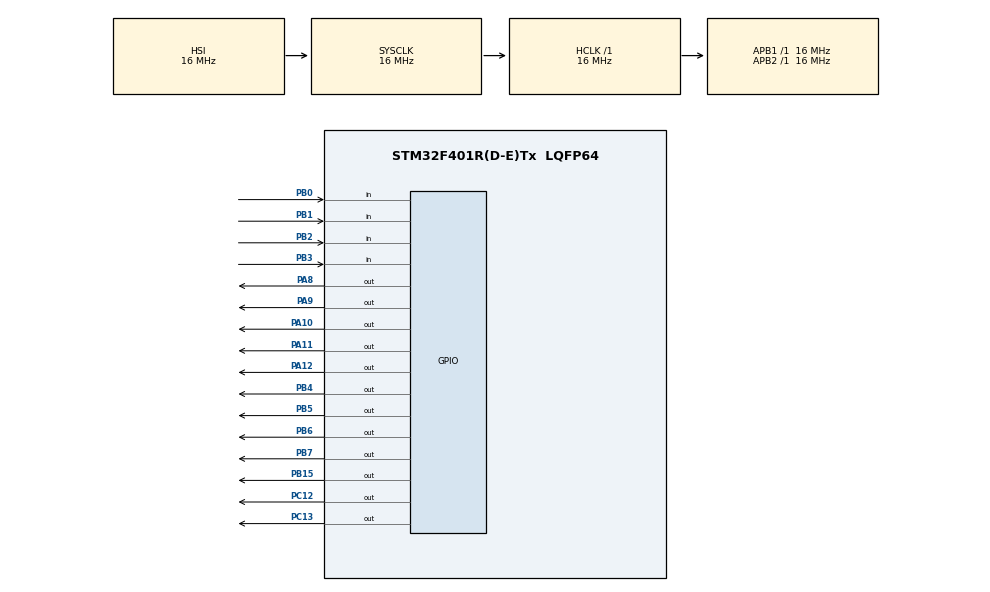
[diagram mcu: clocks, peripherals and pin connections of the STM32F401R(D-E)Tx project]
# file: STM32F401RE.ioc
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Mcu.Family=STM32F4
Mcu.Name=STM32F401R(D-E)Tx
Mcu.Package=LQFP64
NVIC.PriorityGroup=NVIC_PRIORITYGROUP_4
NVIC.TIM2_IRQn=true\:0\:0\:false\:false\:true\:true\:true\:true
PA10.Signal=GPIO_Output
PA11.Signal=GPIO_Output
PA12.Signal=GPIO_Output
PA13.Mode=Serial_Wire
PA13.Signal=SYS_JTMS-SWDIO
PA14.Mode=Serial_Wire
PA14.Signal=SYS_JTCK-SWCLK
PA8.Signal=GPIO_Output
PA9.Signal=GPIO_Output
PB0.GPIO_PuPd=GPIO_PULLUP
PB0.Signal=GPIO_Input
PB1.GPIO_PuPd=GPIO_PULLUP
PB1.Signal=GPIO_Input
PB15.Signal=GPIO_Output
PB2.GPIO_PuPd=GPIO_PULLUP
PB2.Signal=GPIO_Input
PB3.GPIO_PuPd=GPIO_PULLUP
PB3.Signal=GPIO_Input
PB4.Signal=GPIO_Output
PB5.Signal=GPIO_Output
PB6.Signal=GPIO_Output
PB7.Signal=GPIO_Output
PC12.Signal=GPIO_Output
PC13-ANTI_TAMP.Signal=GPIO_Output
ProjectManager.HeapSize=0x200
ProjectManager.StackSize=0x400
ProjectManager.TargetToolchain=STM32CubeIDE
RCC.AHBFreq_Value=16000000
RCC.APB1Freq_Value=16000000
RCC.APB1TimFreq_Value=16000000
RCC.APB2Freq_Value=16000000
RCC.APB2TimFreq_Value=16000000
RCC.CortexFreq_Value=16000000
RCC.HCLKFreq_Value=16000000
RCC.HSE_VALUE=25000000
RCC.HSI_VALUE=16000000
RCC.LSE_VALUE=32768
RCC.SYSCLKFreq_VALUE=16000000
RCC.VCOOutputFreq_Value=192000000
TIM2.AutoReloadPreload=TIM_AUTORELOAD_PRELOAD_ENABLE
TIM2.Period=149
TIM2.Prescaler=16000
TIM4.AutoReloadPreload=TIM_AUTORELOAD_PRELOAD_ENABLE
TIM4.Period=199
TIM4.Prescaler=16000
VP_TIM2_VS_ClockSourceINT.Mode=Internal
VP_TIM4_VS_ClockSourceINT.Mode=Internal
board=custom

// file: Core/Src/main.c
/* USER CODE BEGIN Header */
/**
  ******************************************************************************
  * @file           : main.c
  * @brief          : Main program body
  ******************************************************************************
  * @attention
  *
  * Copyright (c) 2023 STMicroelectronics.
  * All rights reserved.
  *
  * This software is licensed under terms that can be found in the LICENSE file
  * in the root directory of this software component.
  * If no LICENSE file comes with this software, it is provided AS-IS.
  *
  ******************************************************************************
  */
/* USER CODE END Header */
#include "main.h"

#include "string.h"
#include "CLCD.h"
#include "stdio.h"

TIM_HandleTypeDef htim2;
TIM_HandleTypeDef htim4;

void SystemClock_Config(void);
static void MX_GPIO_Init(void);
static void MX_TIM2_Init(void);
static void MX_TIM4_Init(void);

CLCD_Name LCD1;
uint8_t Count;
char LCD_send[16];
int check_clm(uint16_t pin_var)
{
	int clm;
	HAL_GPIO_WritePin(GPIOB, GPIO_PIN_4|GPIO_PIN_5|GPIO_PIN_6|GPIO_PIN_7, GPIO_PIN_SET);		//Set all columns to logic 1 ie connected to Vcc

	HAL_GPIO_WritePin(GPIOB, GPIO_PIN_4, GPIO_PIN_RESET);						//set first column to Gnd
	if(HAL_GPIO_ReadPin(GPIOB, pin_var) == 0)
		clm = 1;

	HAL_GPIO_WritePin(GPIOB, GPIO_PIN_4, GPIO_PIN_SET);
	HAL_GPIO_WritePin(GPIOB, GPIO_PIN_5, GPIO_PIN_RESET);						//set second column to Gnd
	if(HAL_GPIO_ReadPin(GPIOB, pin_var) == 0)
		clm = 2;

	HAL_GPIO_WritePin(GPIOB, GPIO_PIN_5, GPIO_PIN_SET);
	HAL_GPIO_WritePin(GPIOB, GPIO_PIN_6, GPIO_PIN_RESET);						//set third column to Gnd
	if(HAL_GPIO_ReadPin(GPIOB, pin_var) == 0)
		clm = 3;

	HAL_GPIO_WritePin(GPIOB, GPIO_PIN_6, GPIO_PIN_SET);
	HAL_GPIO_WritePin(GPIOB, GPIO_PIN_7, GPIO_PIN_RESET);						//set fourth column to Gnd
	if(HAL_GPIO_ReadPin(GPIOB, pin_var) == 0)
		clm = 4;

	HAL_GPIO_WritePin(GPIOB, GPIO_PIN_4|GPIO_PIN_5|GPIO_PIN_6|GPIO_PIN_7, GPIO_PIN_RESET);		//Set all columns to logic 0 ie connected to GND
	return clm;
}

unsigned char key_press(void)
{
	int clm_var;
	unsigned char key_arr[4][4] = {{'1', '2', '3', 'A'},{'4', '5', '6', 'B'},{'7', '8', '9', 'C'},{'*', '0', '=', 'D'}};
	if (HAL_GPIO_ReadPin(GPIOB, GPIO_PIN_0) == 0)
	{
		clm_var = check_clm(GPIO_PIN_0);
		return key_arr[0][clm_var-1];
	}
	else if (HAL_GPIO_ReadPin(GPIOB, GPIO_PIN_1) == 0)
	{
		clm_var = check_clm(GPIO_PIN_1);
		return key_arr[1][clm_var-1];
	}
	else if (HAL_GPIO_ReadPin(GPIOB, GPIO_PIN_2) == 0)
	{
		clm_var = check_clm(GPIO_PIN_2);
		return key_arr[2][clm_var-1];
	}
	else if (HAL_GPIO_ReadPin(GPIOB, GPIO_PIN_3) == 0)
	{
		clm_var = check_clm(GPIO_PIN_3);
		return key_arr[3][clm_var-1];
	}
	else
		return '\0';
}

char PW[11]; //Mang de luu mat khau khi nhap tu ban phim
char MK[6] = {'2','2','2','3','3','3'}; //Mang MK cua nguoi dung
int i = 0; //Tang chi so cho mang PW

int so_sanh(char a[],char b[],int n,int m)
{
	if(n > m || n < m)
		return 0;
	else
	{
		for(int j=0;j<6;j++)
		{
			if(a[j] != b[j]) return 0;
		}
		return 1;
	}
}

void ktao()
{
	for(int j=0;j<11;j++) PW[j] = 'z';
}

void Disp_pass_key(char key_var)
{
	if(key_var != '\0')
	{
		if(key_var == 'D'){
			CLCD_SetCursor(&LCD1, 0, 1);
			for(int k = 0;k<i;k++)
			{
				CLCD_WriteChar(&LCD1,' ');
			}
			CLCD_SetCursor(&LCD1, 0, 1);
			i = 0;
		}
		else{
			CLCD_WriteChar(&LCD1,'*');
		}
	}
}

void check(char key_var,int *cnt){
	if(key_var != '\0')
	{
		if(key_var >= '0' && key_var <= '9')
		{
			PW[i] = key_var;
			i++;
		}
		if(key_var == '*')
		{
			if(so_sanh(PW,MK,i,6) == 1)
			{
				CLCD_Clear(&LCD1);
				CLCD_SetCursor(&LCD1, 0, 0);
				CLCD_WriteString(&LCD1, "DA MO KHOA!");
				CLCD_SetCursor(&LCD1, 0, 1);
				CLCD_WriteString(&LCD1, "OPENED!");
				HAL_Delay(1000);
				CLCD_Clear(&LCD1);
				CLCD_WriteString(&LCD1, "XIN CHAO!!!");
				ktao();
				i = 0;
				HAL_Delay(5000);
				//Sao khi da mo khoa thanh cong
				CLCD_Clear(&LCD1);
				CLCD_SetCursor(&LCD1, 0, 0);
				CLCD_WriteString(&LCD1, "!!!WELCOME!!!");
				HAL_Delay(1000);
				CLCD_Clear(&LCD1);
				CLCD_SetCursor(&LCD1, 0, 0);
				CLCD_WriteString(&LCD1, "ENTER PASSWORD:");
				CLCD_SetCursor(&LCD1, 0, 1);
				CLCD_CursorOn(&LCD1);
				*cnt = 0;
				return;
			}
			else
			{
				*cnt += 1;
				CLCD_Clear(&LCD1);
				CLCD_WriteString(&LCD1, "INCORRECT!");
				ktao();
				sprintf(LCD_send, " Dem:%d", *cnt);
				CLCD_WriteString(&LCD1, LCD_send);
				if(*cnt == 3)
				{
					CLCD_SetCursor(&LCD1, 0, 1);
					CLCD_WriteString(&LCD1, "CANH BAO MUC 3");
				}
				i = 0;
				HAL_Delay(1000);
				if(*cnt < 3){
					CLCD_Clear(&LCD1);
					CLCD_WriteString(&LCD1, "ENTER AGAIN:");
					CLCD_SetCursor(&LCD1, 0, 1);
				}
			}
		}
	}
}

void HAL_TIM_PeriodElapsedCallback(TIM_HandleTypeDef *htim)
{
	HAL_GPIO_TogglePin(GPIOC, GPIO_PIN_13);
}

int main(void)
{
  /* USER CODE BEGIN 1 */
	char var1; //luu ky tu tuong ung tren KeyPAD
	int cnt = 0; //Dem xem so lan da nhap mat khau sai

  HAL_Init();

  SystemClock_Config();

  MX_GPIO_Init();
  MX_TIM2_Init();
  MX_TIM4_Init();
  /* USER CODE BEGIN 2 */
  	HAL_TIM_Base_Start_IT(&htim2);
  	HAL_GPIO_WritePin(GPIOB, GPIO_PIN_0|GPIO_PIN_1|GPIO_PIN_2|GPIO_PIN_3, GPIO_PIN_SET);
  	HAL_GPIO_WritePin(GPIOB, GPIO_PIN_4|GPIO_PIN_5|GPIO_PIN_6|GPIO_PIN_7, GPIO_PIN_RESET);
  	CLCD_4BIT_Init(&LCD1, 16, 2, CS_GPIO_Port, CS_Pin, EN_GPIO_Port, EN_Pin,
  										D4_GPIO_Port, D4_Pin, D5_GPIO_Port, D5_Pin,
  										D6_GPIO_Port, D6_Pin, D7_GPIO_Port, D7_Pin);
  	CLCD_SetCursor(&LCD1, 0, 0);
  	CLCD_WriteString(&LCD1, "WELCOME!!!");
  	HAL_Delay(2000);
  	CLCD_Clear(&LCD1);
  	CLCD_SetCursor(&LCD1, 0, 0);
  	CLCD_WriteString(&LCD1, "ENTER PASSWORD:");
  	CLCD_SetCursor(&LCD1, 0, 1);
  	CLCD_CursorOn(&LCD1);
  /* USER CODE END 2 */

  /* Infinite loop */
  /* USER CODE BEGIN WHILE */
  while (1)
  {
	  var1 = key_press();
	  	Disp_pass_key(var1);
	  	check(var1,&cnt);
	  	if(cnt == 3)
	  	{
	  		HAL_Delay(500);
	  		HAL_GPIO_WritePin(GPIOC, GPIO_PIN_12, GPIO_PIN_SET);
	  		HAL_Delay(3000);
	  		HAL_GPIO_WritePin(GPIOC, GPIO_PIN_12, GPIO_PIN_RESET);
	  		CLCD_Clear(&LCD1);
	  		CLCD_SetCursor(&LCD1, 0, 0);
	  		CLCD_WriteString(&LCD1, "CO KE DOT NHAP!");
	  		CLCD_SetCursor(&LCD1, 0, 1);
	  		CLCD_WriteString(&LCD1, "WARNING!!!");
	  		HAL_Delay(2000);
	  		//Sau khi thong bao co ke dot nhap:
	  		CLCD_Clear(&LCD1);
	  		CLCD_SetCursor(&LCD1, 0, 0);
	  		CLCD_WriteString(&LCD1, "WELCOME!!!");
	  	  	HAL_Delay(2000);
	  		CLCD_Clear(&LCD1);
	  		CLCD_SetCursor(&LCD1, 0, 0);
	  		CLCD_WriteString(&LCD1, "ENTER PASSWORD:");
	  		CLCD_SetCursor(&LCD1, 0, 1);
	  		CLCD_CursorOn(&LCD1);
	  		cnt = 0;
	  	}
	  	HAL_Delay(175);
    /* USER CODE END WHILE */

  }
}

void SystemClock_Config(void)
{
  RCC_OscInitTypeDef RCC_OscInitStruct = {0};
  RCC_ClkInitTypeDef RCC_ClkInitStruct = {0};

  /** Configure the main internal regulator output voltage
  */
  __HAL_RCC_PWR_CLK_ENABLE();
  __HAL_PWR_VOLTAGESCALING_CONFIG(PWR_REGULATOR_VOLTAGE_SCALE2);

  /** Initializes the RCC Oscillators according to the specified parameters
  * in the RCC_OscInitTypeDef structure.
  */
  RCC_OscInitStruct.OscillatorType = RCC_OSCILLATORTYPE_HSI;
  RCC_OscInitStruct.HSIState = RCC_HSI_ON;
  RCC_OscInitStruct.HSICalibrationValue = RCC_HSICALIBRATION_DEFAULT;
  RCC_OscInitStruct.PLL.PLLState = RCC_PLL_NONE;
  if (HAL_RCC_OscConfig(&RCC_OscInitStruct) != HAL_OK)
  {
    Error_Handler();
  }

  /** Initializes the CPU, AHB and APB buses clocks
  */
  RCC_ClkInitStruct.ClockType = RCC_CLOCKTYPE_HCLK|RCC_CLOCKTYPE_SYSCLK
                              |RCC_CLOCKTYPE_PCLK1|RCC_CLOCKTYPE_PCLK2;
  RCC_ClkInitStruct.SYSCLKSource = RCC_SYSCLKSOURCE_HSI;
  RCC_ClkInitStruct.AHBCLKDivider = RCC_SYSCLK_DIV1;
  RCC_ClkInitStruct.APB1CLKDivider = RCC_HCLK_DIV1;
  RCC_ClkInitStruct.APB2CLKDivider = RCC_HCLK_DIV1;

  if (HAL_RCC_ClockConfig(&RCC_ClkInitStruct, FLASH_LATENCY_0) != HAL_OK)
  {
    Error_Handler();
  }
}

static void MX_TIM2_Init(void)
{

  TIM_ClockConfigTypeDef sClockSourceConfig = {0};
  TIM_MasterConfigTypeDef sMasterConfig = {0};

  htim2.Instance = TIM2;
  htim2.Init.Prescaler = 16000;
  htim2.Init.CounterMode = TIM_COUNTERMODE_UP;
  htim2.Init.Period = 149;
  htim2.Init.ClockDivision = TIM_CLOCKDIVISION_DIV1;
  htim2.Init.AutoReloadPreload = TIM_AUTORELOAD_PRELOAD_ENABLE;
  if (HAL_TIM_Base_Init(&htim2) != HAL_OK)
  {
    Error_Handler();
  }
  sClockSourceConfig.ClockSource = TIM_CLOCKSOURCE_INTERNAL;
  if (HAL_TIM_ConfigClockSource(&htim2, &sClockSourceConfig) != HAL_OK)
  {
    Error_Handler();
  }
  sMasterConfig.MasterOutputTrigger = TIM_TRGO_RESET;
  sMasterConfig.MasterSlaveMode = TIM_MASTERSLAVEMODE_DISABLE;
  if (HAL_TIMEx_MasterConfigSynchronization(&htim2, &sMasterConfig) != HAL_OK)
  {
    Error_Handler();
  }

}

static void MX_TIM4_Init(void)
{

  TIM_ClockConfigTypeDef sClockSourceConfig = {0};
  TIM_MasterConfigTypeDef sMasterConfig = {0};

  htim4.Instance = TIM4;
  htim4.Init.Prescaler = 16000;
  htim4.Init.CounterMode = TIM_COUNTERMODE_UP;
  htim4.Init.Period = 199;
  htim4.Init.ClockDivision = TIM_CLOCKDIVISION_DIV1;
  htim4.Init.AutoReloadPreload = TIM_AUTORELOAD_PRELOAD_ENABLE;
  if (HAL_TIM_Base_Init(&htim4) != HAL_OK)
  {
    Error_Handler();
  }
  sClockSourceConfig.ClockSource = TIM_CLOCKSOURCE_INTERNAL;
  if (HAL_TIM_ConfigClockSource(&htim4, &sClockSourceConfig) != HAL_OK)
  {
    Error_Handler();
  }
  sMasterConfig.MasterOutputTrigger = TIM_TRGO_RESET;
  sMasterConfig.MasterSlaveMode = TIM_MASTERSLAVEMODE_DISABLE;
  if (HAL_TIMEx_MasterConfigSynchronization(&htim4, &sMasterConfig) != HAL_OK)
  {
    Error_Handler();
  }

}

static void MX_GPIO_Init(void)
{
  GPIO_InitTypeDef GPIO_InitStruct = {0};

  /* GPIO Ports Clock Enable */
  __HAL_RCC_GPIOC_CLK_ENABLE();
  __HAL_RCC_GPIOB_CLK_ENABLE();
  __HAL_RCC_GPIOA_CLK_ENABLE();

  /*Configure GPIO pin Output Level */
  HAL_GPIO_WritePin(GPIOC, GPIO_PIN_13|GPIO_PIN_12, GPIO_PIN_RESET);

  /*Configure GPIO pin Output Level */
  HAL_GPIO_WritePin(GPIOB, GPIO_PIN_15|GPIO_PIN_4|GPIO_PIN_5|GPIO_PIN_6
                          |GPIO_PIN_7, GPIO_PIN_RESET);

  /*Configure GPIO pin Output Level */
  HAL_GPIO_WritePin(GPIOA, GPIO_PIN_8|GPIO_PIN_9|GPIO_PIN_10|GPIO_PIN_11
                          |GPIO_PIN_12, GPIO_PIN_RESET);

  /*Configure GPIO pins : PC13 PC12 */
  GPIO_InitStruct.Pin = GPIO_PIN_13|GPIO_PIN_12;
  GPIO_InitStruct.Mode = GPIO_MODE_OUTPUT_PP;
  GPIO_InitStruct.Pull = GPIO_NOPULL;
  GPIO_InitStruct.Speed = GPIO_SPEED_FREQ_LOW;
  HAL_GPIO_Init(GPIOC, &GPIO_InitStruct);

  /*Configure GPIO pins : PB0 PB1 PB2 PB3 */
  GPIO_InitStruct.Pin = GPIO_PIN_0|GPIO_PIN_1|GPIO_PIN_2|GPIO_PIN_3;
  GPIO_InitStruct.Mode = GPIO_MODE_INPUT;
  GPIO_InitStruct.Pull = GPIO_PULLUP;
  HAL_GPIO_Init(GPIOB, &GPIO_InitStruct);

  /*Configure GPIO pins : PB15 PB4 PB5 PB6
                           PB7 */
  GPIO_InitStruct.Pin = GPIO_PIN_15|GPIO_PIN_4|GPIO_PIN_5|GPIO_PIN_6
                          |GPIO_PIN_7;
  GPIO_InitStruct.Mode = GPIO_MODE_OUTPUT_PP;
  GPIO_InitStruct.Pull = GPIO_NOPULL;
  GPIO_InitStruct.Speed = GPIO_SPEED_FREQ_LOW;
  HAL_GPIO_Init(GPIOB, &GPIO_InitStruct);

  /*Configure GPIO pins : PA8 PA9 PA10 PA11
                           PA12 */
  GPIO_InitStruct.Pin = GPIO_PIN_8|GPIO_PIN_9|GPIO_PIN_10|GPIO_PIN_11
                          |GPIO_PIN_12;
  GPIO_InitStruct.Mode = GPIO_MODE_OUTPUT_PP;
  GPIO_InitStruct.Pull = GPIO_NOPULL;
  GPIO_InitStruct.Speed = GPIO_SPEED_FREQ_LOW;
  HAL_GPIO_Init(GPIOA, &GPIO_InitStruct);

}

void Error_Handler(void)
{
  __disable_irq();
  while (1)
  {
  }
}
